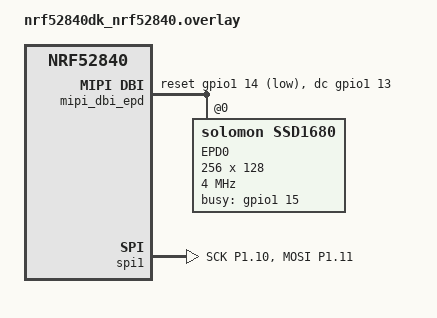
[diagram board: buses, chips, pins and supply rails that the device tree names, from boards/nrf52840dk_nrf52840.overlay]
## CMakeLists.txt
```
cmake_minimum_required(VERSION 3.20.0)
find_package(Zephyr REQUIRED HINTS $ENV{ZEPHYR_BASE})

project(epd_hello_world)

target_sources(app PRIVATE src/main.c)
```

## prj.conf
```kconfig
# ── Low-level IO
CONFIG_GPIO=y
CONFIG_SPI=y
CONFIG_SPI_NRFX=y
CONFIG_I2C=y
CONFIG_I2C_NRFX=y

# ── Display
CONFIG_DISPLAY=y
CONFIG_SSD16XX=y

# ── LVGL (manual init)
CONFIG_LVGL=y
CONFIG_LV_Z_AUTO_INIT=n
CONFIG_LV_Z_BITS_PER_PIXEL=1
CONFIG_LV_Z_MEM_POOL_SIZE=24576
CONFIG_LV_USE_LABEL=y
CONFIG_LV_USE_THEME_DEFAULT=y

# ── Logging (handy while bring-up)
CONFIG_LOG=y
CONFIG_LV_USE_LOG=y
CONFIG_LV_LOG_LEVEL_INFO=y
CONFIG_DISPLAY_LOG_LEVEL_DBG=y

# ── libc + float printf (we’ll still format as integers for safety)
CONFIG_NEWLIB_LIBC=y
CONFIG_NEWLIB_LIBC_NANO=y
CONFIG_NEWLIB_LIBC_FLOAT_PRINTF=y
CONFIG_CBPRINTF_FP_SUPPORT=y

# ── Stacks / safety
CONFIG_HW_STACK_PROTECTION=y
CONFIG_MAIN_STACK_SIZE=24576

# ── Optional: build your LC709203F stub driver (not required for reading,
#    but nice to have since you included the module)
#CONFIG_LC709203F=y

CONFIG_SENSOR=y
CONFIG_BH1750=y
```

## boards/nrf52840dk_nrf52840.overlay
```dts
#include <zephyr/dt-bindings/gpio/gpio.h>

/ {
    chosen {
        zephyr,display = &epd;
    };

    mipi_dbi_epd: mipi_dbi_epd {
        compatible = "zephyr,mipi-dbi-spi";
        spi-dev = <&spi1>;
        dc-gpios = <&gpio1 13 GPIO_ACTIVE_HIGH>;
        reset-gpios = <&gpio1 14 GPIO_ACTIVE_LOW>;
        #address-cells = <1>;
        #size-cells = <0>;

        epd: ssd16xxfb@0 {
            compatible = "solomon,ssd1680";
            status = "okay";
            reg = <0>;
            label = "EPD0";

            /* REQUIRED / USED BY DRIVER */
            width = <256>;
            height = <128>;
            rotation = <0>;
            busy-gpios = <&gpio1 15 GPIO_ACTIVE_HIGH>;
            mipi-max-frequency = <4000000>;

            /* Optional SSD16xx specifics */
            tssv = <0x80>;

            /* Use partial waveform for small-area updates (label only) */
            partial { };
            /* If you later want to tweak border behavior you can also define:
             * full    { border-waveform = <0x00>; };
             * partial { border-waveform = <0x00>; };
             */
        };
    };
};

&spi1 {
    status = "okay";
    cs-gpios = <&gpio1 12 GPIO_ACTIVE_LOW>;
    pinctrl-0 = <&spi1_default>;
    pinctrl-1 = <&spi1_sleep>;
    pinctrl-names = "default", "sleep";
};

&pinctrl {
    spi1_default: spi1_default {
        group1 {
            psels = <NRF_PSEL(SPIM_SCK, 1, 10)>,
                    <NRF_PSEL(SPIM_MOSI, 1, 11)>;
        };
    };

    spi1_sleep: spi1_sleep {
        group1 {
            psels = <NRF_PSEL(SPIM_SCK, 1, 10)>,
                    <NRF_PSEL(SPIM_MOSI, 1, 11)>;
            low-power-enable;
        };
    };
};
```

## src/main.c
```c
#include <zephyr/kernel.h>
#include <zephyr/device.h>
#include <zephyr/devicetree.h>
#include <zephyr/drivers/display.h>
#include <zephyr/sys/printk.h>
#include <lvgl.h>

/* Logical LVGL resolution (must be multiple of 8 for I1) */
#define PANEL_HOR_RES 256U
#define PANEL_VER_RES 128U

/* LVGL draw buffer: +8 bytes palette for I1 */
#define DRAW_BUF_SIZE (((PANEL_HOR_RES * PANEL_VER_RES) / 8U) + 8U)
static uint8_t draw_buf[DRAW_BUF_SIZE];

/* ------- EPD flush: LVGL I1 -> SSD16xx vertical-tiling ------- */
static void epd_flush_cb(lv_display_t *disp, const lv_area_t *area, uint8_t *px_map)
{
        const struct device *dev = (const struct device *)lv_display_get_user_data(disp);

        /* Skip 8-byte palette for I1 */
        px_map += 8;

        /* Clip to physical (250x122) */
        lv_coord_t x1 = area->x1, y1 = area->y1, x2 = area->x2, y2 = area->y2;
        if (x2 >= 250)
                x2 = 249;
        if (y2 >= 122)
                y2 = 121;
        uint16_t w = (uint16_t)(x2 - x1 + 1);
        uint16_t h = (uint16_t)(y2 - y1 + 1);

        /* Convert to vertical-tiling */
        static uint8_t vtbuf[PANEL_HOR_RES * ((PANEL_VER_RES + 7) / 8)];
        uint16_t groups = (h + 7U) >> 3;

        for (uint16_t gx = 0; gx < w; gx++)
        {
                for (uint16_t gy = 0; gy < groups; gy++)
                {
                        uint8_t out_byte = 0;
                        for (uint8_t bit = 0; bit < 8; bit++)
                        {
                                uint16_t row = gy * 8U + bit;
                                uint8_t bit_val = 0;
                                if (row < h)
                                {
                                        lv_coord_t px = x1 + gx;
                                        lv_coord_t py = y1 + row;
                                        uint32_t idx = (uint32_t)py * PANEL_HOR_RES + px;
                                        uint32_t byte_index = idx >> 3;
                                        uint8_t bit_off = idx & 0x7;
                                        bit_val = (px_map[byte_index] >> (7 - bit_off)) & 1U;
                                }
                                if (bit_val)
                                        out_byte |= (1U << (7 - bit));
                        }
                        vtbuf[gy * w + gx] = out_byte;
                }
        }

        struct display_buffer_descriptor desc = {
            .buf_size = w * groups,
            .width = w,
            .pitch = w,
            .height = (uint16_t)(groups * 8U),
        };

        int ret = display_write(dev, x1, y1, &desc, vtbuf);
        if (ret)
        {
                printk("display_write() failed: %d\n", ret);
        }

        lv_display_flush_ready(disp);
}

/* Align flush areas to 8px boundaries (I1 byte alignment) */
static void rounder_cb(lv_event_t *e)
{
        lv_area_t *a = (lv_area_t *)lv_event_get_param(e);
        a->x1 &= ~0x7;
        a->x2 |= 0x7;
        if (a->x2 >= PANEL_HOR_RES)
                a->x2 = PANEL_HOR_RES - 1;
        /* y alignment not required for I1; keep as-is to minimize area */
}

/* LVGL tick from Zephyr uptime (ms) */
static uint32_t my_tick_get(void) { return (uint32_t)k_uptime_get(); }

int main(void)
{
        /* LVGL init */
        lv_init();

        const struct device *display_dev = DEVICE_DT_GET(DT_CHOSEN(zephyr_display));
        if (!device_is_ready(display_dev))
        {
                printk("Display device not ready\n");
                return;
        }

        lv_tick_set_cb(my_tick_get);

        /* LVGL display setup: PARTIAL render mode so only invalidated areas flush */
        lv_display_t *disp = lv_display_create(PANEL_HOR_RES, PANEL_VER_RES);
        if (!disp)
        {
                printk("Failed to create LVGL display\n");
                return;
        }
        lv_display_set_color_format(disp, LV_COLOR_FORMAT_I1);
        lv_display_set_user_data(disp, (void *)display_dev);
        lv_display_set_buffers(disp, draw_buf, NULL, sizeof(draw_buf),
                               LV_DISPLAY_RENDER_MODE_PARTIAL); /* <-- key */

        lv_display_set_flush_cb(disp, epd_flush_cb);
        lv_display_add_event_cb(disp, rounder_cb, LV_EVENT_INVALIDATE_AREA, disp);

        display_blanking_off(display_dev);

        /* Simple demo UI */
        lv_obj_t *label = lv_label_create(lv_screen_active());
        lv_label_set_text(label, "Hello from LVGL!");
        lv_obj_center(label);

        /* LVGL tick/handler loop */
        while (true)
        {
                lv_timer_handler();
                k_msleep(50);
        }
        return 0;
}
```
